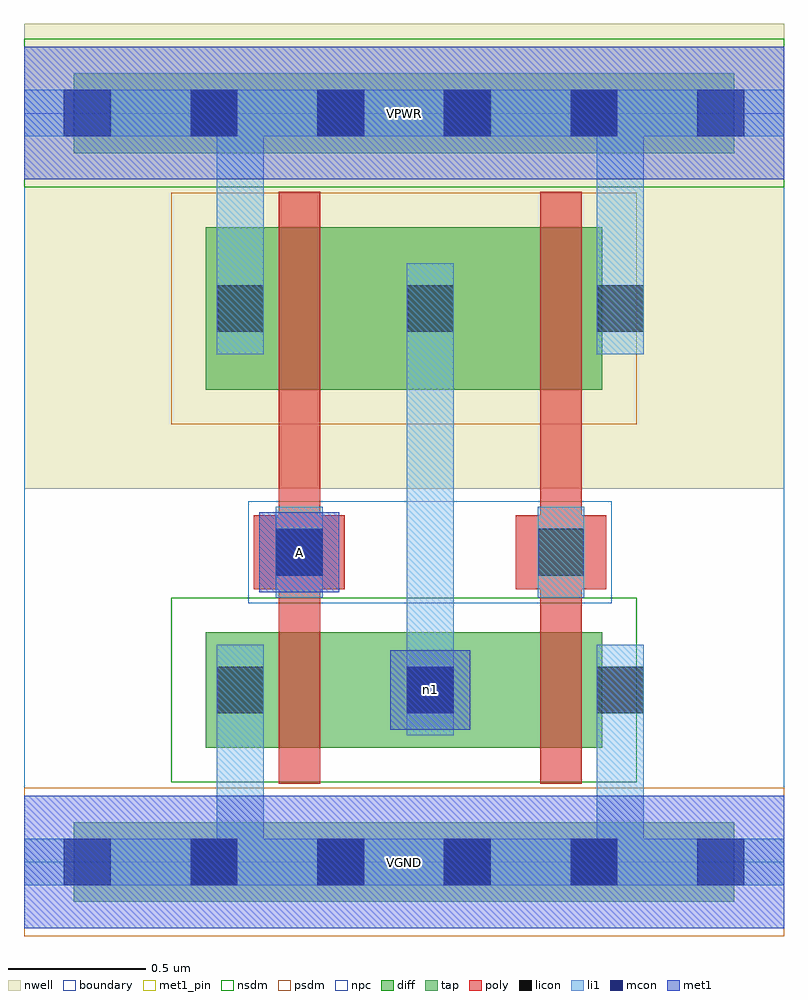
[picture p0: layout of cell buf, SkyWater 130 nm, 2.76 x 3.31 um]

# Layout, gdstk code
import gdstk
lib = gdstk.Library(unit=1e-6, precision=1e-09)
def R(c, l, rs):  # rectangles x0, y0, x1, y1
    for r in rs: c.add(gdstk.rectangle(r[:2], r[2:], *l))
def A(c, l, x, y, w, h, nx, ny, dx, dy):  # array of equal rectangles
    R(c, l, [(x+i*dx, y+j*dy, x+i*dx+w, y+j*dy+h) for i in range(nx) for j in range(ny)])
nwell = (64, 20)
diff = (65, 20)
tap = (65, 44)
poly = (66, 20)
licon = (66, 44)
li1 = (67, 20)
mcon = (67, 44)
met1_pin = (68, 16)
met1 = (68, 20)
nsdm = (93, 44)
psdm = (94, 20)
npc = (95, 20)
boundary = (235, 4)

buf = lib.new_cell('buf')
R(buf, nwell, [(0,1.355,2.76,3.045)])
R(buf, diff, [(0.66,0.415,2.1,0.835), (0.66,1.715,2.1,2.305)])
R(buf, tap, [(0.18,-0.145,2.58,0.145), (0.18,2.575,2.58,2.865)])
R(buf, poly, [(0.925,0.285,1.075,2.435), (1.875,0.285,2.025,2.435), (0.835,0.99,1.165,1.26), (1.785,0.99,2.115,1.26)])
A(buf, licon, 0.605, -0.085, 0.17, 0.17, 4, 2, 0.46, 2.72)
R(buf, licon, [(0.7,0.54,0.87,0.71), (1.39,0.54,1.56,0.71), (1.39,0.54,1.56,0.71), (2.08,0.54,2.25,0.71), (0.915,1.04,1.085,1.21), (1.865,1.04,2.035,1.21), (0.7,1.925,0.87,2.095), (1.39,1.925,1.56,2.095), (1.39,1.925,1.56,2.095), (2.08,1.925,2.25,2.095)])
R(buf, li1, [(0,-0.085,2.76,0.085), (0.7,-0.085,0.87,0.79), (2.08,-0.085,2.25,0.79), (0.7,0.46,0.87,0.79), (1.39,0.46,1.56,0.79), (1.39,0.46,1.56,0.79), (1.39,0.46,1.56,2.175), (2.08,0.46,2.25,0.79), (0.915,0.96,1.085,1.29), (1.865,0.96,2.035,1.29), (0.7,1.845,0.87,2.175), (0.7,1.845,0.87,2.805), (1.39,1.845,1.56,2.175), (1.39,1.845,1.56,2.175), (2.08,1.845,2.25,2.175), (2.08,1.845,2.25,2.805), (0,2.635,2.76,2.805)])
A(buf, mcon, 0.145, -0.085, 0.17, 0.17, 6, 2, 0.46, 2.72)
R(buf, mcon, [(1.39,0.54,1.56,0.71), (0.915,1.04,1.085,1.21)])
R(buf, met1_pin, [(0,-0.24,2.76,0.24), (1.33,0.48,1.62,0.77), (0.855,0.98,1.145,1.27), (0,2.48,2.76,2.96)])
R(buf, met1, [(0,-0.24,2.76,0.24), (1.33,0.48,1.62,0.77), (0.855,0.98,1.145,1.27), (0,2.48,2.76,2.96)])
R(buf, nsdm, [(0.535,0.29,2.225,0.96), (0,2.45,2.76,2.99)])
R(buf, psdm, [(0,-0.27,2.76,0.27), (0.535,1.59,2.225,2.43)])
R(buf, npc, [(0.815,0.94,2.135,1.31)])
R(buf, boundary, [(0,0,2.76,2.72)])
buf.add(gdstk.Label('n1', (1.475,0.625), layer=67, texttype=5))
buf.add(gdstk.Label('A', (1,1.125), layer=68, texttype=5))
buf.add(gdstk.Label('X', (1.475,0.625), layer=68, texttype=5))
buf.add(gdstk.Label('VPWR', (1.38,2.72), layer=68, texttype=5))
buf.add(gdstk.Label('VGND', (1.38,0), layer=68, texttype=5))
buf.add(gdstk.Label('A', (1,1.125), layer=68, texttype=16))
buf.add(gdstk.Label('X', (1.475,0.625), layer=68, texttype=16))
buf.add(gdstk.Label('VPWR', (1.38,2.72), layer=68, texttype=16))
buf.add(gdstk.Label('VGND', (1.38,0), layer=68, texttype=16))

lib.write_gds('buf.gds')
